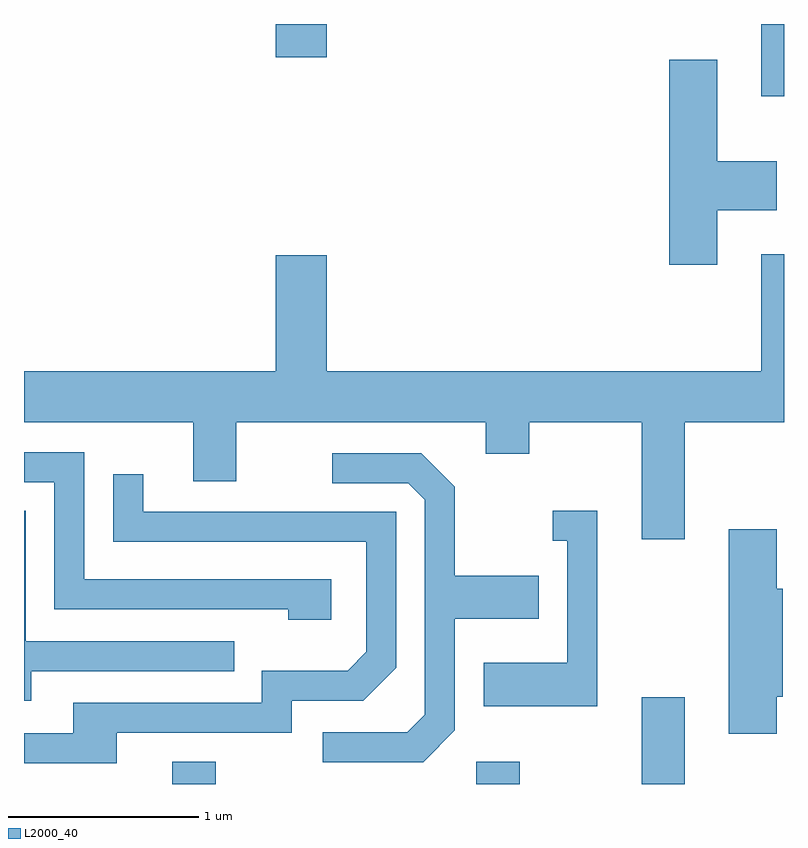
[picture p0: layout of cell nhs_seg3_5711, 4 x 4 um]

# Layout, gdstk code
import gdstk
lib = gdstk.Library(unit=1e-6, precision=1e-09)
def R(c, l, rs):  # rectangles x0, y0, x1, y1
    for r in rs: c.add(gdstk.rectangle(r[:2], r[2:], *l))
def P(c, l, *ps):  # polygons
    for p in ps: c.add(gdstk.Polygon(p, *l))
L2000_40 = (2000, 40)

nhs_seg3_5711 = lib.new_cell('nhs_seg3_5711')
R(nhs_seg3_5711, L2000_40, [(354.391,1121.892,354.619,1122.009), (355.991,1121.892,356.219,1122.009), (356.861,1121.892,357.089,1122.349), (357.491,1125.511,357.611,1125.892), (354.936,1125.716,355.204,1125.892)])
P(nhs_seg3_5711, L2000_40, [(357.259,1124.911),(357.574,1124.911),(357.574,1125.169),(357.259,1125.169),(357.259,1125.704),(357.006,1125.704),(357.006,1124.626),(357.259,1124.626)],
  [(357.089,1123.796),(357.611,1123.796),(357.611,1124.679),(357.491,1124.679),(357.491,1124.064),(355.204,1124.064),(355.204,1124.674),(354.936,1124.674),(354.936,1124.064),(353.611,1124.064),(353.611,1123.796),(354.501,1123.796),(354.501,1123.486),(354.729,1123.486),(354.729,1123.796),(356.041,1123.796),(356.041,1123.631),(356.269,1123.631),(356.269,1123.796),(356.861,1123.796),(356.861,1123.181),(357.089,1123.181)],
  [(355.229,1122.969),(353.929,1122.969),(353.929,1123.639),(353.611,1123.639),(353.611,1123.481),(353.771,1123.481),(353.771,1122.811),(355.001,1122.811),(355.001,1122.756),(355.229,1122.756)],
  [(355.718,1122.013),(355.879,1122.174),(355.879,1122.761),(356.319,1122.761),(356.319,1122.989),(355.879,1122.989),(355.879,1123.457),(355.702,1123.634),(355.233,1123.634),(355.233,1123.476),(355.634,1123.476),(355.721,1123.389),(355.721,1122.257),(355.629,1122.164),(355.183,1122.164),(355.183,1122.006),(355.712,1122.006)],
  [(354.099,1122.161),(355.019,1122.161),(355.019,1122.331),(355.397,1122.331),(355.569,1122.504),(355.569,1123.324),(354.239,1123.324),(354.239,1123.523),(354.081,1123.523),(354.081,1123.166),(355.411,1123.166),(355.411,1122.587),(355.314,1122.489),(354.861,1122.489),(354.861,1122.319),(353.871,1122.319),(353.871,1122.159),(353.611,1122.159),(353.611,1122.001),(354.099,1122.001)],
  [(356.629,1123.329),(356.393,1123.329),(356.393,1123.171),(356.471,1123.171),(356.471,1122.529),(356.031,1122.529),(356.031,1122.301),(356.629,1122.301)],
  [(353.649,1122.486),(354.718,1122.486),(354.718,1122.644),(353.619,1122.644),(353.619,1123.329),(353.611,1123.329),(353.611,1122.331),(353.649,1122.331)],
  [(357.574,1122.351),(357.604,1122.351),(357.604,1122.919),(357.574,1122.919),(357.574,1123.234),(357.321,1123.234),(357.321,1122.156),(357.574,1122.156)])

lib.write_gds('nhs_seg3_5711.gds')
